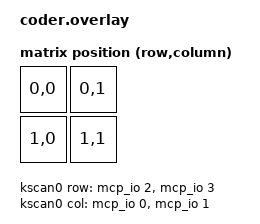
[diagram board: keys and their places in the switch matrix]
#include <dt-bindings/zmk/matrix_transform.h>
#include <physical_layouts.dtsi>

/ {
    chosen {
        zmk,physical-layout = &physical_layout0;
    };

    physical_layout0: physical_layout_0 {
        compatible = "zmk,physical-layout";
        display-name = "Default Layout";
        kscan = <&kscan0>;
        transform = <&default_transform>;
    keys  //                      w   h x y rot rx ry
	    = <&key_physical_attrs 100 100   0   0   0  0  0>
	    , <&key_physical_attrs 100 100 100   0   0  0  0>
	    , <&key_physical_attrs 100 100   0 100   0  0  0>
	    , <&key_physical_attrs 100 100 100 100   0  0  0>
	    ;
    };

    default_transform: keymap_transform0 {
        compatible = "zmk,matrix-transform";
        rows = <2>;
        columns = <2>;
        map = <
            RC(0,0) RC(0,1)
            RC(1,0) RC(1,1)
        >;
    };

    kscan0: kscan {
        compatible = "zmk,kscan-gpio-matrix";
        diode-direction = "col2row";
        col-gpios
            = <&mcp_io 0 (GPIO_ACTIVE_LOW)>
            , <&mcp_io 1 (GPIO_ACTIVE_LOW)>
            ;
        row-gpios
            = <&mcp_io 2 (GPIO_ACTIVE_LOW)>
            , <&mcp_io 3 (GPIO_ACTIVE_LOW)>
            ;
    };
};

&pinctrl {
    // I2C for MCP23017
    i2c0_default: i2c0_default {
        group1 {
            psels = <NRF_PSEL(TWIM_SDA, 0, 24)>,
                    <NRF_PSEL(TWIM_SCL, 0, 22)>;
        };
    };
    i2c0_sleep: i2c0_sleep {
        group1 {
            psels = <NRF_PSEL(TWIM_SDA, 0, 24)>,
                    <NRF_PSEL(TWIM_SCL, 0, 22)>;
            low-power-enable;
        };
    };
};

&i2c0 {
	status = "okay";
    clock-frequency = <I2C_BITRATE_FAST>;
    wakeup-source;
    pinctrl-0 = <&i2c0_default>;
	pinctrl-1 = <&i2c0_sleep>;
	pinctrl-names = "default", "sleep";

	mcp_io: mcp23017@20 {
		compatible = "microchip,mcp230xx";
		status = "okay";
        label = "MCP23017_0";
		reg = <0x20>;
		gpio-controller;
		#gpio-cells = <2>;
		ngpios = <16>;
	};
};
